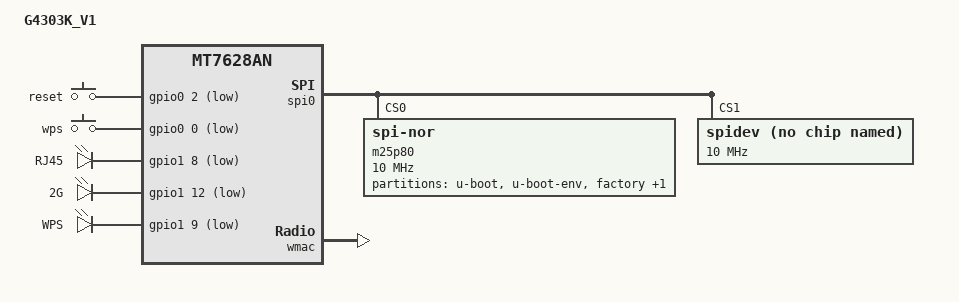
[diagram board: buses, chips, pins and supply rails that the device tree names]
/dts-v1/;

#include "mt7628an.dtsi"

#include <dt-bindings/gpio/gpio.h>
#include <dt-bindings/input/input.h>

/ {
	compatible = "tenbay,g4303k-v1", "mediatek,mt7628an-soc";
	model = "G4303K_V1";

	chosen {
		bootargs = "console=ttyS0,57600";
	};

	aliases {
		led-boot = &led_2G;
		led-failsafe = &led_2G;
		led-running = &led_2G;
		led-upgrade = &led_2G;
	};

	gpio-keys-polled {
		compatible = "gpio-keys-polled";
		poll-interval = <20>;

		reset {
			label = "reset";
			gpios = <&gpio0 2 GPIO_ACTIVE_LOW>;
			linux,code = <KEY_RESTART>;
		};

		wps_in {
			label = "wps";
			gpios = <&gpio0 0 GPIO_ACTIVE_LOW>;
			linux,code = <KEY_WPS_BUTTON>;
		};
	};

	gpio-leds {
		compatible = "gpio-leds";

		led_RJ45: led_RJ45 {
			label = "RJ45";
			gpios = <&gpio1 8 GPIO_ACTIVE_LOW>; //40
		};

		led_2G: led_2G {
			label = "2G";
			gpios = <&gpio1 12 GPIO_ACTIVE_LOW>; //44
		};

		led_WPS: led_WPS {
			label = "WPS";
			gpios = <&gpio1 9 GPIO_ACTIVE_LOW>; //41
		};
	};
};

&spi0 {
	status = "okay";

	m25p80@0 {
		compatible = "jedec,spi-nor";
		reg = <0>;
		spi-max-frequency = <10000000>;
		m25p,chunked-io = <32>;

		partitions {
			compatible = "fixed-partitions";
			#address-cells = <1>;
			#size-cells = <1>;

			partition@0 {
				label = "u-boot";
				reg = <0x0 0x30000>;
				read-only;
			};

			partition@30000 {
				label = "u-boot-env";
				reg = <0x30000 0x10000>;
				read-only;
			};

			factory: partition@40000 {
				label = "factory";
				reg = <0x40000 0x10000>;
				read-only;
			};

			partition@50000 {
				compatible = "denx,uimage";
				label = "firmware";
				reg = <0x50000 0x1fb0000>;
			};
		};
	};

	spidev@1 {
		#address-cells = <1>;
		#size-cells = <1>;
		compatible = "linux,spidev";
		reg = <1>;
		spi-max-frequency = <10000000>;
	};
};

&pinctrl {
	state_default: pinctrl0 {
		gpio {
			ralink,group = "jtag", "refclk", "perst", "i2c", "i2s", "gpio", "sdmode", "uart1", "uart2";
			ralink,function = "gpio";
		};
	};
};

&ethernet {
	mtd-mac-address = <&factory 0x4>;
	mediatek,portmap = "llllw";
};

&wmac {
	status = "okay";
};
